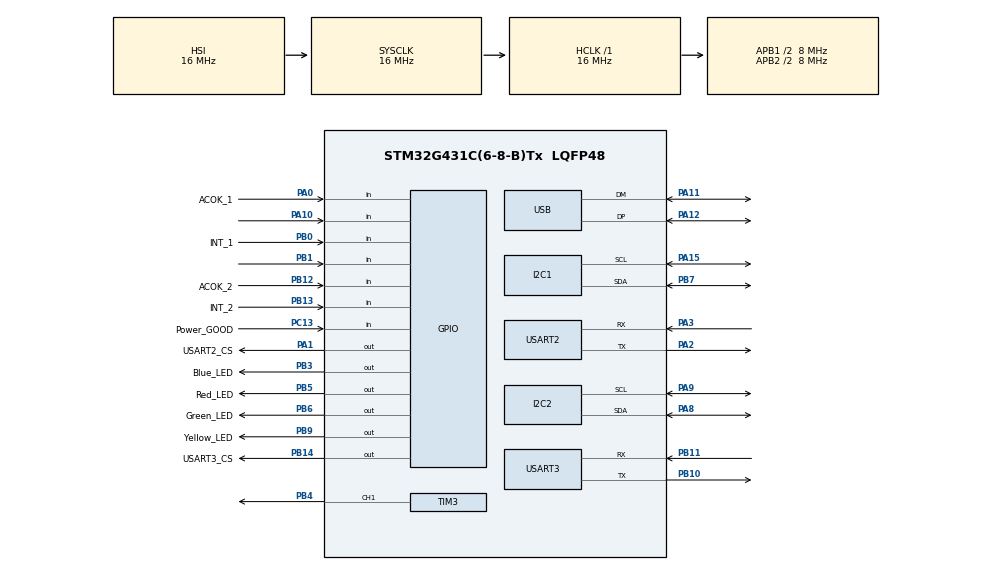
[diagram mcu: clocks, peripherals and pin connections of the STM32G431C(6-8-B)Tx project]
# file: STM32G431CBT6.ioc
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I2C1.Timing=0x00201D2B
I2C2.Timing=0x00201D2B
Mcu.Family=STM32G4
Mcu.Name=STM32G431C(6-8-B)Tx
Mcu.Package=LQFP48
NVIC.PriorityGroup=NVIC_PRIORITYGROUP_4
PA0.GPIO_Label=ACOK_1
PA0.Signal=GPIO_Input
PA1.GPIO_Label=USART2_CS
PA1.Signal=GPIO_Output
PA10.Signal=GPIO_Input
PA11.Mode=Device
PA11.Signal=USB_DM
PA12.Mode=Device
PA12.Signal=USB_DP
PA13.Signal=SYS_JTMS-SWDIO
PA14.Signal=SYS_JTCK-SWCLK
PA15.Mode=I2C
PA15.Signal=I2C1_SCL
PA2.Mode=Asynchronous
PA2.Signal=USART2_TX
PA3.Mode=Asynchronous
PA3.Signal=USART2_RX
PA8.Mode=I2C
PA8.Signal=I2C2_SDA
PA9.Mode=I2C
PA9.Signal=I2C2_SCL
PB0.GPIO_Label=INT_1
PB0.Signal=GPIO_Input
PB1.Signal=GPIO_Input
PB10.Mode=Asynchronous
PB10.Signal=USART3_TX
PB11.Mode=Asynchronous
PB11.Signal=USART3_RX
PB12.GPIO_Label=ACOK_2
PB12.Signal=GPIO_Input
PB13.GPIO_Label=INT_2
PB13.Signal=GPIO_Input
PB14.GPIO_Label=USART3_CS
PB14.Signal=GPIO_Output
PB3.GPIO_Label=Blue_LED
PB3.PinState=GPIO_PIN_SET
PB3.Signal=GPIO_Output
PB4.Signal=S_TIM3_CH1
PB5.GPIO_Label=Red_LED
PB5.PinState=GPIO_PIN_SET
PB5.Signal=GPIO_Output
PB6.GPIO_Label=Green_LED
PB6.PinState=GPIO_PIN_SET
PB6.Signal=GPIO_Output
PB7.Mode=I2C
PB7.Signal=I2C1_SDA
PB9.GPIO_Label=Yellow_LED
PB9.PinState=GPIO_PIN_SET
PB9.Signal=GPIO_Output
PC13.GPIO_Label=Power_GOOD
PC13.Signal=GPIO_Input
PC14-OSC32_IN.Mode=LSE-External-Oscillator
PC14-OSC32_IN.Signal=RCC_OSC32_IN
PC15-OSC32_OUT.Mode=LSE-External-Oscillator
PC15-OSC32_OUT.Signal=RCC_OSC32_OUT
PF0-OSC_IN.Mode=HSE-External-Oscillator
PF0-OSC_IN.Signal=RCC_OSC_IN
PF1-OSC_OUT.Mode=HSE-External-Oscillator
PF1-OSC_OUT.Signal=RCC_OSC_OUT
ProjectManager.HeapSize=0x200
ProjectManager.StackSize=0x400
ProjectManager.TargetToolchain=STM32CubeIDE
RCC.AHBFreq_Value=16000000
RCC.APB1CLKDivider=RCC_HCLK_DIV2
RCC.APB1Freq_Value=8000000
RCC.APB1TimFreq_Value=16000000
RCC.APB2CLKDivider=RCC_HCLK_DIV2
RCC.APB2Freq_Value=8000000
RCC.APB2TimFreq_Value=16000000
RCC.CortexFreq_Value=16000000
RCC.EXTERNAL_CLOCK_VALUE=12288000
RCC.HCLKFreq_Value=16000000
RCC.HSE_VALUE=8000000
RCC.HSI48_VALUE=48000000
RCC.HSI_VALUE=16000000
RCC.PLLN=12
RCC.PLLQ=RCC_PLLQ_DIV4
RCC.SYSCLKFreq_VALUE=16000000
RCC.USBFreq_Value=48000000
RCC.VCOOutputFreq_Value=192000000
SH.S_TIM3_CH1.0=TIM3_CH1,Output Compare1 CH1
TIM3.Channel-Output\ Compare1\ CH1=TIM_CHANNEL_1
USART2.SwapParam=ADVFEATURE_SWAP_DISABLE
USART2.VirtualMode-Asynchronous=VM_ASYNC
USART3.VirtualMode-Asynchronous=VM_ASYNC
VP_SYS_VS_DBSignals.Mode=DisableDeadBatterySignals
board=custom

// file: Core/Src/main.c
/* USER CODE BEGIN Header */

/* USER CODE END Header */
#include "main.h"

I2C_HandleTypeDef hi2c1;
I2C_HandleTypeDef hi2c2;

TIM_HandleTypeDef htim3;

UART_HandleTypeDef huart2;
UART_HandleTypeDef huart3;

PCD_HandleTypeDef hpcd_USB_FS;

void SystemClock_Config(void);
static void MX_GPIO_Init(void);
static void MX_I2C1_Init(void);
static void MX_I2C2_Init(void);
static void MX_TIM3_Init(void);
static void MX_USART2_UART_Init(void);
static void MX_USART3_UART_Init(void);
static void MX_USB_PCD_Init(void);

int main(void)
{

  /* MCU Configuration--------------------------------------------------------*/

  /* Reset of all peripherals, Initializes the Flash interface and the Systick. */
  HAL_Init();

  /* Configure the system clock */
  SystemClock_Config();

  /* Initialize all configured peripherals */
  MX_GPIO_Init();
  MX_I2C1_Init();
  MX_I2C2_Init();
  MX_TIM3_Init();
  MX_USART2_UART_Init();
  MX_USART3_UART_Init();
  MX_USB_PCD_Init();
  /* USER CODE BEGIN 2 */

    SEGGER_RTT_Init();
    SEGGER_RTT_printf(0, "\nSEGGER RTT Initialized\r\n\n");

    init_MP2650();
//    test_EEPROM(0x00, "=2-45-7=");
    print_Regs8();
    print_Regs16();

  /* USER CODE END 2 */

  /* Infinite loop */
  /* USER CODE BEGIN WHILE */

  while (1)
  {
      while (CMD_print_from_485() != 1);
      REG_08_CHARGE_EN(false);
      HAL_Delay(300);
      REG_08_CHARGE_EN(true);
      printf("\n-------- CMD_print_from_485 --------\r\n");
      if(check_INPUT_POWER())
      {
          printf("-------- INPUT POWER ON --------\r\n");
      }
      else
      {
          printf("-------- INPUT POWER OFF --------\r\n");
      }
      print_Regs8();
      print_Regs16();
      led_Test();

    /* USER CODE END WHILE */

  }
}

void SystemClock_Config(void)
{
  RCC_OscInitTypeDef RCC_OscInitStruct = {0};
  RCC_ClkInitTypeDef RCC_ClkInitStruct = {0};

  /** Configure the main internal regulator output voltage
  */
  HAL_PWREx_ControlVoltageScaling(PWR_REGULATOR_VOLTAGE_SCALE1);

  /** Initializes the RCC Oscillators according to the specified parameters
  * in the RCC_OscInitTypeDef structure.
  */
  RCC_OscInitStruct.OscillatorType = RCC_OSCILLATORTYPE_HSI;
  RCC_OscInitStruct.HSIState = RCC_HSI_ON;
  RCC_OscInitStruct.HSICalibrationValue = RCC_HSICALIBRATION_DEFAULT;
  RCC_OscInitStruct.PLL.PLLState = RCC_PLL_ON;
  RCC_OscInitStruct.PLL.PLLSource = RCC_PLLSOURCE_HSI;
  RCC_OscInitStruct.PLL.PLLM = RCC_PLLM_DIV1;
  RCC_OscInitStruct.PLL.PLLN = 12;
  RCC_OscInitStruct.PLL.PLLP = RCC_PLLP_DIV2;
  RCC_OscInitStruct.PLL.PLLQ = RCC_PLLQ_DIV4;
  RCC_OscInitStruct.PLL.PLLR = RCC_PLLR_DIV2;
  if (HAL_RCC_OscConfig(&RCC_OscInitStruct) != HAL_OK)
  {
    Error_Handler();
  }

  /** Initializes the CPU, AHB and APB buses clocks
  */
  RCC_ClkInitStruct.ClockType = RCC_CLOCKTYPE_HCLK|RCC_CLOCKTYPE_SYSCLK
                              |RCC_CLOCKTYPE_PCLK1|RCC_CLOCKTYPE_PCLK2;
  RCC_ClkInitStruct.SYSCLKSource = RCC_SYSCLKSOURCE_HSI;
  RCC_ClkInitStruct.AHBCLKDivider = RCC_SYSCLK_DIV1;
  RCC_ClkInitStruct.APB1CLKDivider = RCC_HCLK_DIV2;
  RCC_ClkInitStruct.APB2CLKDivider = RCC_HCLK_DIV2;

  if (HAL_RCC_ClockConfig(&RCC_ClkInitStruct, FLASH_LATENCY_0) != HAL_OK)
  {
    Error_Handler();
  }
}

static void MX_I2C1_Init(void)
{

  hi2c1.Instance = I2C1;
  hi2c1.Init.Timing = 0x00201D2B;
  hi2c1.Init.OwnAddress1 = 0;
  hi2c1.Init.AddressingMode = I2C_ADDRESSINGMODE_7BIT;
  hi2c1.Init.DualAddressMode = I2C_DUALADDRESS_DISABLE;
  hi2c1.Init.OwnAddress2 = 0;
  hi2c1.Init.OwnAddress2Masks = I2C_OA2_NOMASK;
  hi2c1.Init.GeneralCallMode = I2C_GENERALCALL_DISABLE;
  hi2c1.Init.NoStretchMode = I2C_NOSTRETCH_DISABLE;
  if (HAL_I2C_Init(&hi2c1) != HAL_OK)
  {
    Error_Handler();
  }

  /** Configure Analogue filter
  */
  if (HAL_I2CEx_ConfigAnalogFilter(&hi2c1, I2C_ANALOGFILTER_ENABLE) != HAL_OK)
  {
    Error_Handler();
  }

  /** Configure Digital filter
  */
  if (HAL_I2CEx_ConfigDigitalFilter(&hi2c1, 0) != HAL_OK)
  {
    Error_Handler();
  }

}

static void MX_I2C2_Init(void)
{

  hi2c2.Instance = I2C2;
  hi2c2.Init.Timing = 0x00201D2B;
  hi2c2.Init.OwnAddress1 = 0;
  hi2c2.Init.AddressingMode = I2C_ADDRESSINGMODE_7BIT;
  hi2c2.Init.DualAddressMode = I2C_DUALADDRESS_DISABLE;
  hi2c2.Init.OwnAddress2 = 0;
  hi2c2.Init.OwnAddress2Masks = I2C_OA2_NOMASK;
  hi2c2.Init.GeneralCallMode = I2C_GENERALCALL_DISABLE;
  hi2c2.Init.NoStretchMode = I2C_NOSTRETCH_DISABLE;
  if (HAL_I2C_Init(&hi2c2) != HAL_OK)
  {
    Error_Handler();
  }

  /** Configure Analogue filter
  */
  if (HAL_I2CEx_ConfigAnalogFilter(&hi2c2, I2C_ANALOGFILTER_ENABLE) != HAL_OK)
  {
    Error_Handler();
  }

  /** Configure Digital filter
  */
  if (HAL_I2CEx_ConfigDigitalFilter(&hi2c2, 0) != HAL_OK)
  {
    Error_Handler();
  }

}

static void MX_TIM3_Init(void)
{

  TIM_MasterConfigTypeDef sMasterConfig = {0};
  TIM_OC_InitTypeDef sConfigOC = {0};

  htim3.Instance = TIM3;
  htim3.Init.Prescaler = 0;
  htim3.Init.CounterMode = TIM_COUNTERMODE_UP;
  htim3.Init.Period = 65535;
  htim3.Init.ClockDivision = TIM_CLOCKDIVISION_DIV1;
  htim3.Init.AutoReloadPreload = TIM_AUTORELOAD_PRELOAD_DISABLE;
  if (HAL_TIM_OC_Init(&htim3) != HAL_OK)
  {
    Error_Handler();
  }
  sMasterConfig.MasterOutputTrigger = TIM_TRGO_RESET;
  sMasterConfig.MasterSlaveMode = TIM_MASTERSLAVEMODE_DISABLE;
  if (HAL_TIMEx_MasterConfigSynchronization(&htim3, &sMasterConfig) != HAL_OK)
  {
    Error_Handler();
  }
  sConfigOC.OCMode = TIM_OCMODE_TIMING;
  sConfigOC.Pulse = 0;
  sConfigOC.OCPolarity = TIM_OCPOLARITY_HIGH;
  sConfigOC.OCFastMode = TIM_OCFAST_DISABLE;
  if (HAL_TIM_OC_ConfigChannel(&htim3, &sConfigOC, TIM_CHANNEL_1) != HAL_OK)
  {
    Error_Handler();
  }
  HAL_TIM_MspPostInit(&htim3);

}

static void MX_USART2_UART_Init(void)
{

  huart2.Instance = USART2;
  huart2.Init.BaudRate = 115200;
  huart2.Init.WordLength = UART_WORDLENGTH_8B;
  huart2.Init.StopBits = UART_STOPBITS_1;
  huart2.Init.Parity = UART_PARITY_NONE;
  huart2.Init.Mode = UART_MODE_TX_RX;
  huart2.Init.HwFlowCtl = UART_HWCONTROL_NONE;
  huart2.Init.OverSampling = UART_OVERSAMPLING_16;
  huart2.Init.OneBitSampling = UART_ONE_BIT_SAMPLE_DISABLE;
  huart2.Init.ClockPrescaler = UART_PRESCALER_DIV1;
  huart2.AdvancedInit.AdvFeatureInit = UART_ADVFEATURE_NO_INIT;
  if (HAL_UART_Init(&huart2) != HAL_OK)
  {
    Error_Handler();
  }
  if (HAL_UARTEx_SetTxFifoThreshold(&huart2, UART_TXFIFO_THRESHOLD_1_8) != HAL_OK)
  {
    Error_Handler();
  }
  if (HAL_UARTEx_SetRxFifoThreshold(&huart2, UART_RXFIFO_THRESHOLD_1_8) != HAL_OK)
  {
    Error_Handler();
  }
  if (HAL_UARTEx_DisableFifoMode(&huart2) != HAL_OK)
  {
    Error_Handler();
  }

}

static void MX_USART3_UART_Init(void)
{

  huart3.Instance = USART3;
  huart3.Init.BaudRate = 115200;
  huart3.Init.WordLength = UART_WORDLENGTH_8B;
  huart3.Init.StopBits = UART_STOPBITS_1;
  huart3.Init.Parity = UART_PARITY_NONE;
  huart3.Init.Mode = UART_MODE_TX_RX;
  huart3.Init.HwFlowCtl = UART_HWCONTROL_NONE;
  huart3.Init.OverSampling = UART_OVERSAMPLING_16;
  huart3.Init.OneBitSampling = UART_ONE_BIT_SAMPLE_DISABLE;
  huart3.Init.ClockPrescaler = UART_PRESCALER_DIV1;
  huart3.AdvancedInit.AdvFeatureInit = UART_ADVFEATURE_NO_INIT;
  if (HAL_UART_Init(&huart3) != HAL_OK)
  {
    Error_Handler();
  }
  if (HAL_UARTEx_SetTxFifoThreshold(&huart3, UART_TXFIFO_THRESHOLD_1_8) != HAL_OK)
  {
    Error_Handler();
  }
  if (HAL_UARTEx_SetRxFifoThreshold(&huart3, UART_RXFIFO_THRESHOLD_1_8) != HAL_OK)
  {
    Error_Handler();
  }
  if (HAL_UARTEx_DisableFifoMode(&huart3) != HAL_OK)
  {
    Error_Handler();
  }

}

static void MX_USB_PCD_Init(void)
{

  hpcd_USB_FS.Instance = USB;
  hpcd_USB_FS.Init.dev_endpoints = 8;
  hpcd_USB_FS.Init.speed = PCD_SPEED_FULL;
  hpcd_USB_FS.Init.phy_itface = PCD_PHY_EMBEDDED;
  hpcd_USB_FS.Init.Sof_enable = DISABLE;
  hpcd_USB_FS.Init.low_power_enable = DISABLE;
  hpcd_USB_FS.Init.lpm_enable = DISABLE;
  hpcd_USB_FS.Init.battery_charging_enable = DISABLE;
  if (HAL_PCD_Init(&hpcd_USB_FS) != HAL_OK)
  {
    Error_Handler();
  }

}

static void MX_GPIO_Init(void)
{
  GPIO_InitTypeDef GPIO_InitStruct = {0};

  /* GPIO Ports Clock Enable */
  __HAL_RCC_GPIOC_CLK_ENABLE();
  __HAL_RCC_GPIOF_CLK_ENABLE();
  __HAL_RCC_GPIOA_CLK_ENABLE();
  __HAL_RCC_GPIOB_CLK_ENABLE();

  /*Configure GPIO pin Output Level */
  HAL_GPIO_WritePin(USART2_CS_GPIO_Port, USART2_CS_Pin, GPIO_PIN_RESET);

  /*Configure GPIO pin Output Level */
  HAL_GPIO_WritePin(USART3_CS_GPIO_Port, USART3_CS_Pin, GPIO_PIN_RESET);

  /*Configure GPIO pin Output Level */
  HAL_GPIO_WritePin(GPIOB, Blue_LED_Pin|Red_LED_Pin|Green_LED_Pin|Yellow_LED_Pin, GPIO_PIN_SET);

  /*Configure GPIO pin : Power_GOOD_Pin */
  GPIO_InitStruct.Pin = Power_GOOD_Pin;
  GPIO_InitStruct.Mode = GPIO_MODE_INPUT;
  GPIO_InitStruct.Pull = GPIO_NOPULL;
  HAL_GPIO_Init(Power_GOOD_GPIO_Port, &GPIO_InitStruct);

  /*Configure GPIO pins : ACOK_1_Pin PA10 */
  GPIO_InitStruct.Pin = ACOK_1_Pin|GPIO_PIN_10;
  GPIO_InitStruct.Mode = GPIO_MODE_INPUT;
  GPIO_InitStruct.Pull = GPIO_NOPULL;
  HAL_GPIO_Init(GPIOA, &GPIO_InitStruct);

  /*Configure GPIO pin : USART2_CS_Pin */
  GPIO_InitStruct.Pin = USART2_CS_Pin;
  GPIO_InitStruct.Mode = GPIO_MODE_OUTPUT_PP;
  GPIO_InitStruct.Pull = GPIO_NOPULL;
  GPIO_InitStruct.Speed = GPIO_SPEED_FREQ_LOW;
  HAL_GPIO_Init(USART2_CS_GPIO_Port, &GPIO_InitStruct);

  /*Configure GPIO pins : INT_1_Pin PB1 ACOK_2_Pin INT_2_Pin */
  GPIO_InitStruct.Pin = INT_1_Pin|GPIO_PIN_1|ACOK_2_Pin|INT_2_Pin;
  GPIO_InitStruct.Mode = GPIO_MODE_INPUT;
  GPIO_InitStruct.Pull = GPIO_NOPULL;
  HAL_GPIO_Init(GPIOB, &GPIO_InitStruct);

  /*Configure GPIO pins : USART3_CS_Pin Blue_LED_Pin Red_LED_Pin Green_LED_Pin
                           Yellow_LED_Pin */
  GPIO_InitStruct.Pin = USART3_CS_Pin|Blue_LED_Pin|Red_LED_Pin|Green_LED_Pin
                          |Yellow_LED_Pin;
  GPIO_InitStruct.Mode = GPIO_MODE_OUTPUT_PP;
  GPIO_InitStruct.Pull = GPIO_NOPULL;
  GPIO_InitStruct.Speed = GPIO_SPEED_FREQ_LOW;
  HAL_GPIO_Init(GPIOB, &GPIO_InitStruct);

}

void Error_Handler(void)
{
  __disable_irq();
  while (1)
  {
  }
}
